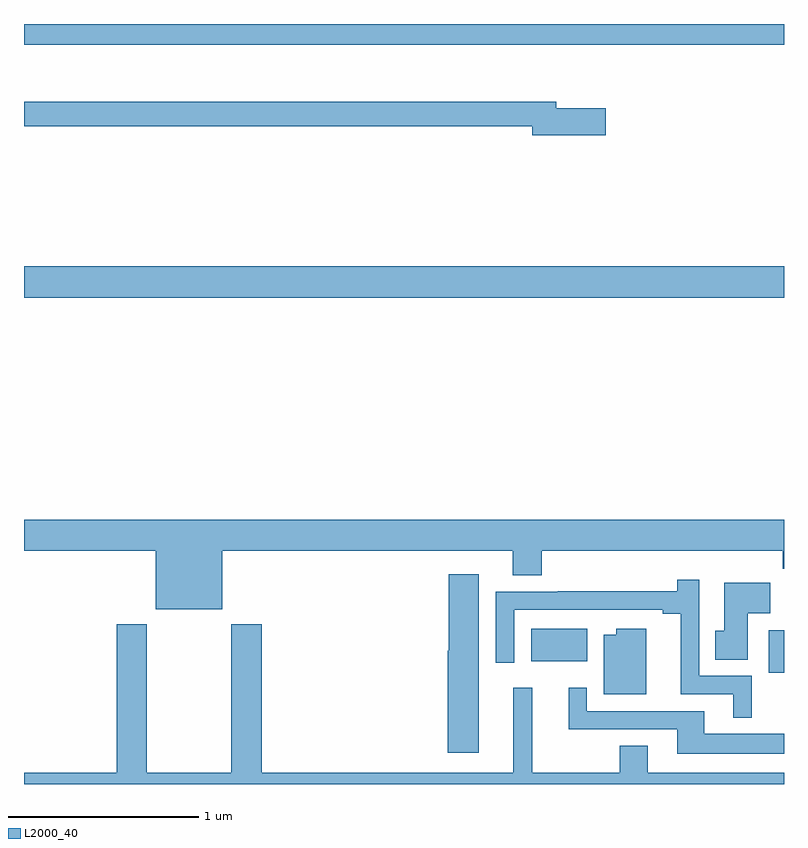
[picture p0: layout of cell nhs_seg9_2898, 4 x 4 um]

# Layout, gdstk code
import gdstk
lib = gdstk.Library(unit=1e-6, precision=1e-09)
def R(c, l, rs):  # rectangles x0, y0, x1, y1
    for r in rs: c.add(gdstk.rectangle(r[:2], r[2:], *l))
def P(c, l, *ps):  # polygons
    for p in ps: c.add(gdstk.Polygon(p, *l))
L2000_40 = (2000, 40)

nhs_seg9_2898 = lib.new_cell('nhs_seg9_2898')
R(nhs_seg9_2898, L2000_40, [(280.919,1221.086,281,1221.31), (279.671,1221.146,279.964,1221.316), (277,1223.06,281,1223.224), (277,1224.392,281,1224.5)])
P(nhs_seg9_2898, L2000_40, [(280.063,1224.057),(279.802,1224.057),(279.802,1224.091),(277,1224.091),(277,1223.962),(279.674,1223.962),(279.674,1223.915),(280.063,1223.915)],
  [(277,1221.728),(277.694,1221.728),(277.694,1221.419),(278.044,1221.419),(278.044,1221.728),(279.572,1221.728),(279.572,1221.598),(279.725,1221.598),(279.725,1221.728),(280.993,1221.728),(280.993,1221.632),(281,1221.632),(281,1221.892),(277,1221.892)],
  [(279.394,1221.604),(279.236,1221.604),(279.236,1221.201),(279.23,1221.201),(279.23,1220.664),(279.394,1220.664)],
  [(280.831,1221.069),(280.554,1221.069),(280.554,1221.574),(280.438,1221.574),(280.438,1221.515),(279.808,1221.515),(279.808,1221.513),(279.483,1221.513),(279.483,1221.138),(279.579,1221.138),(279.579,1221.417),(280.361,1221.417),(280.361,1221.397),(280.457,1221.397),(280.457,1220.973),(280.733,1220.973),(280.733,1220.849),(280.831,1220.849)],
  [(280.81,1221.398),(280.928,1221.398),(280.928,1221.559),(280.685,1221.559),(280.685,1221.306),(280.639,1221.306),(280.639,1221.154),(280.81,1221.154)],
  [(281,1220.56),(280.282,1220.56),(280.282,1220.702),(280.135,1220.702),(280.135,1220.56),(279.674,1220.56),(279.674,1221.007),(279.575,1221.007),(279.575,1220.56),(278.252,1220.56),(278.252,1221.34),(278.092,1221.34),(278.092,1220.56),(277.647,1220.56),(277.647,1221.34),(277.487,1221.34),(277.487,1220.56),(277,1220.56),(277,1220.5),(281,1220.5)],
  [(280.276,1221.316),(280.118,1221.316),(280.118,1221.286),(280.052,1221.286),(280.052,1220.972),(280.276,1220.972)],
  [(281,1220.764),(280.579,1220.764),(280.579,1220.883),(279.963,1220.883),(279.963,1221.007),(279.866,1221.007),(279.866,1220.787),(280.439,1220.787),(280.439,1220.66),(281,1220.66)])

lib.write_gds('nhs_seg9_2898.gds')
